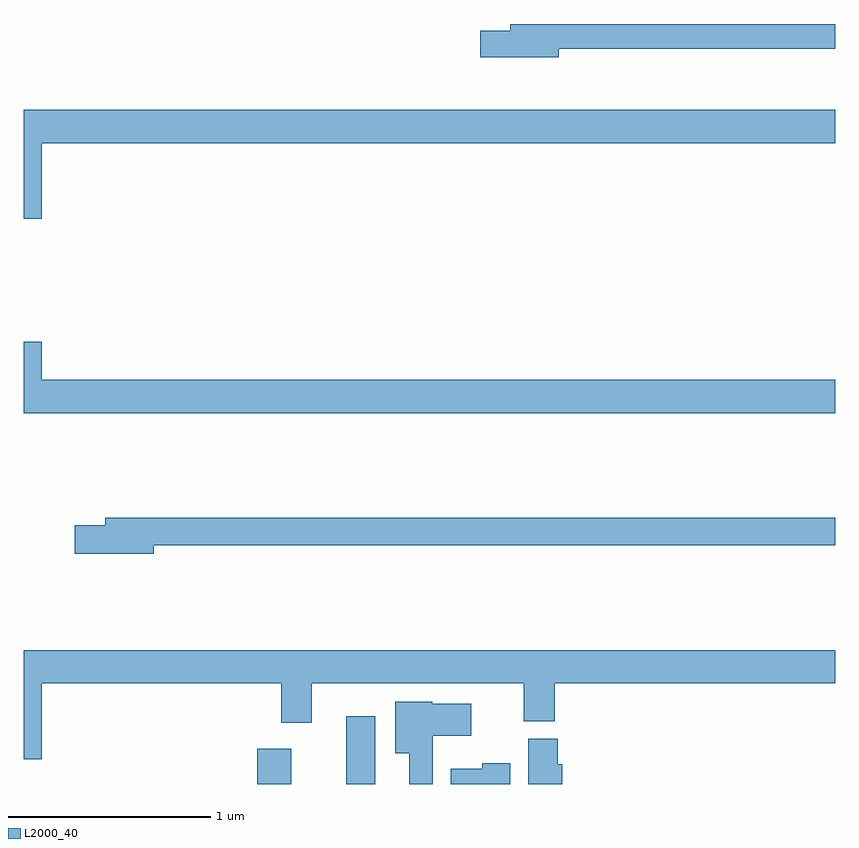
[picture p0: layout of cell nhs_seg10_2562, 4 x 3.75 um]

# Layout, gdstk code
import gdstk
lib = gdstk.Library(unit=1e-6, precision=1e-09)
def R(c, l, rs):  # rectangles x0, y0, x1, y1
    for r in rs: c.add(gdstk.rectangle(r[:2], r[2:], *l))
def P(c, l, *ps):  # polygons
    for p in ps: c.add(gdstk.Polygon(p, *l))
L2000_40 = (2000, 40)

nhs_seg10_2562 = lib.new_cell('nhs_seg10_2562')
R(nhs_seg10_2562, L2000_40, [(250.151,1286.5,250.318,1286.674), (250.589,1286.5,250.732,1286.833)])
P(nhs_seg10_2562, L2000_40, [(251.638,1290.126),(253,1290.126),(253,1290.247),(251.399,1290.247),(251.399,1290.213),(251.25,1290.213),(251.25,1290.083),(251.638,1290.083)],
  [(249.088,1289.66),(253,1289.66),(253,1289.824),(249,1289.824),(249,1289.286),(249.088,1289.286)],
  [(253,1288.492),(249.088,1288.492),(249.088,1288.681),(249,1288.681),(249,1288.328),(253,1288.328)],
  [(249.64,1287.676),(253,1287.676),(253,1287.812),(249.401,1287.812),(249.401,1287.776),(249.252,1287.776),(249.252,1287.634),(249.64,1287.634)],
  [(249.088,1286.996),(250.268,1286.996),(250.268,1286.802),(250.42,1286.802),(250.42,1286.996),(251.465,1286.996),(251.465,1286.809),(251.618,1286.809),(251.618,1286.996),(253,1286.996),(253,1287.16),(249,1287.16),(249,1286.622),(249.088,1286.622)],
  [(251.017,1286.738),(251.206,1286.738),(251.206,1286.896),(251.013,1286.896),(251.013,1286.905),(250.832,1286.905),(250.832,1286.651),(250.901,1286.651),(250.901,1286.5),(251.017,1286.5)],
  [(251.654,1286.598),(251.633,1286.598),(251.633,1286.724),(251.486,1286.724),(251.486,1286.5),(251.654,1286.5)],
  [(251.398,1286.602),(251.259,1286.602),(251.259,1286.575),(251.105,1286.575),(251.105,1286.5),(251.398,1286.5)])

lib.write_gds('nhs_seg10_2562.gds')
